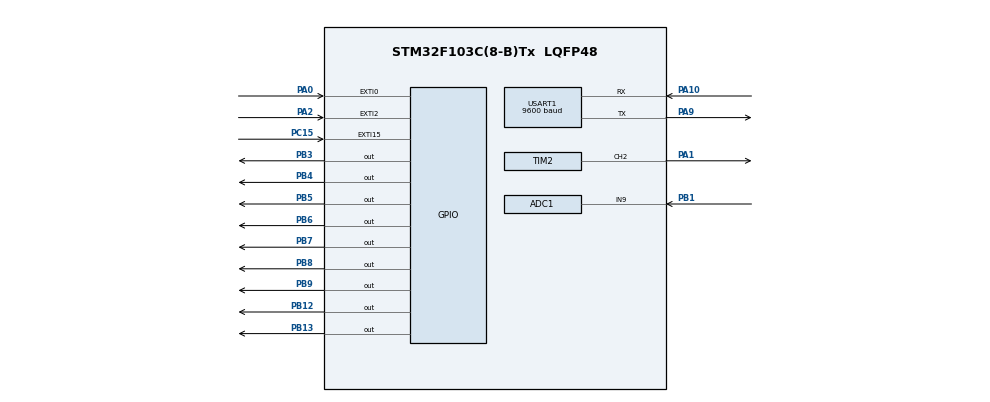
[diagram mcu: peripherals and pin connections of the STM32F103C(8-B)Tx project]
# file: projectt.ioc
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ADC1.Channel-0\#ChannelRegularConversion=ADC_CHANNEL_9
ADC1.ContinuousConvMode=ENABLE
ADC1.NbrOfConversionFlag=1
ADC1.Rank-0\#ChannelRegularConversion=1
ADC1.SamplingTime-0\#ChannelRegularConversion=ADC_SAMPLETIME_1CYCLE_5
ADC1.master=1
Mcu.Family=STM32F1
Mcu.Name=STM32F103C(8-B)Tx
Mcu.Package=LQFP48
NVIC.EXTI0_IRQn=true\:0\:0\:false\:false\:true\:true\:true\:true
NVIC.EXTI15_10_IRQn=true\:0\:0\:false\:false\:true\:true\:true\:true
NVIC.EXTI2_IRQn=true\:0\:0\:false\:false\:true\:true\:true\:true
NVIC.PriorityGroup=NVIC_PRIORITYGROUP_4
NVIC.USART1_IRQn=true\:0\:0\:false\:false\:true\:true\:true\:true
PA0-WKUP.Signal=GPXTI0
PA1.Signal=S_TIM2_CH2
PA10.Mode=Asynchronous
PA10.Signal=USART1_RX
PA13.Mode=Serial_Wire
PA13.Signal=SYS_JTMS-SWDIO
PA14.Mode=Serial_Wire
PA14.Signal=SYS_JTCK-SWCLK
PA2.Signal=GPXTI2
PA9.Mode=Asynchronous
PA9.Signal=USART1_TX
PB1.Signal=ADCx_IN9
PB12.GPIO_PuPd=GPIO_PULLDOWN
PB12.Signal=GPIO_Output
PB13.GPIO_PuPd=GPIO_PULLDOWN
PB13.Signal=GPIO_Output
PB3.Signal=GPIO_Output
PB4.Signal=GPIO_Output
PB5.Signal=GPIO_Output
PB6.Signal=GPIO_Output
PB7.Signal=GPIO_Output
PB8.Signal=GPIO_Output
PB9.Signal=GPIO_Output
PC15-OSC32_OUT.GPIO_PuPd=GPIO_PULLDOWN
PC15-OSC32_OUT.Signal=GPXTI15
ProjectManager.HeapSize=0x200
ProjectManager.StackSize=0x400
ProjectManager.TargetToolchain=MDK-ARM V5.32
RCC.APB1Freq_Value=8000000
RCC.APB2Freq_Value=8000000
SH.ADCx_IN9.0=ADC1_IN9,IN9
SH.S_TIM2_CH2.0=TIM2_CH2,PWM Generation2 CH2
TIM2.Channel-PWM\ Generation2\ CH2=TIM_CHANNEL_2
TIM2.Period=9999
TIM2.Prescaler=15
USART1.BaudRate=9600
USART1.VirtualMode=VM_ASYNC
VP_TIM2_VS_ClockSourceINT.Mode=Internal
board=custom

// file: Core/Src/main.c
/* USER CODE BEGIN Header */
/**
  ******************************************************************************
  * @file           : main.c
  * @brief          : Main program body
  ******************************************************************************
  * @attention
  *
  * Copyright (c) 2023 STMicroelectronics.
  * All rights reserved.
  *
  * This software is licensed under terms that can be found in the LICENSE file
  * in the root directory of this software component.
  * If no LICENSE file comes with this software, it is provided AS-IS.
  *
  ******************************************************************************
  */
/* USER CODE END Header */
#include "main.h"

/* USER CODE BEGIN PD */
int left;
	int right;
	int count;
	int degree;
	int slow;
	uint16_t readValue;
  uint16_t PWM;
	uint8_t tData[]= "Degree=000,\n Count=00\r\n";
/* USER CODE END PD */

ADC_HandleTypeDef hadc1;

TIM_HandleTypeDef htim2;

UART_HandleTypeDef huart1;

void SystemClock_Config(void);
static void MX_GPIO_Init(void);
static void MX_ADC1_Init(void);
static void MX_TIM2_Init(void);
static void MX_USART1_UART_Init(void);

/* USER CODE BEGIN 0 */
void ShowNumber(int num){

	switch(num){

		case 0:
			HAL_GPIO_WritePin(GPIOB, GPIO_PIN_3, GPIO_PIN_RESET);
			HAL_GPIO_WritePin(GPIOB, GPIO_PIN_4, GPIO_PIN_RESET);
			HAL_GPIO_WritePin(GPIOB, GPIO_PIN_5, GPIO_PIN_RESET);
			HAL_GPIO_WritePin(GPIOB, GPIO_PIN_6, GPIO_PIN_RESET);
			HAL_GPIO_WritePin(GPIOB, GPIO_PIN_7, GPIO_PIN_RESET);
			HAL_GPIO_WritePin(GPIOB, GPIO_PIN_8, GPIO_PIN_RESET);
			HAL_GPIO_WritePin(GPIOB, GPIO_PIN_9, GPIO_PIN_SET);
			break;
		case 1:
			HAL_GPIO_WritePin(GPIOB, GPIO_PIN_3, GPIO_PIN_SET);
			HAL_GPIO_WritePin(GPIOB, GPIO_PIN_4, GPIO_PIN_RESET);
			HAL_GPIO_WritePin(GPIOB, GPIO_PIN_5, GPIO_PIN_RESET);
			HAL_GPIO_WritePin(GPIOB, GPIO_PIN_6, GPIO_PIN_SET);
			HAL_GPIO_WritePin(GPIOB, GPIO_PIN_7, GPIO_PIN_SET);
			HAL_GPIO_WritePin(GPIOB, GPIO_PIN_8, GPIO_PIN_SET);
			HAL_GPIO_WritePin(GPIOB, GPIO_PIN_9, GPIO_PIN_SET);
			break;
		case 2:
			HAL_GPIO_WritePin(GPIOB, GPIO_PIN_3, GPIO_PIN_RESET);
			HAL_GPIO_WritePin(GPIOB, GPIO_PIN_4, GPIO_PIN_RESET);
			HAL_GPIO_WritePin(GPIOB, GPIO_PIN_5, GPIO_PIN_SET);
			HAL_GPIO_WritePin(GPIOB, GPIO_PIN_6, GPIO_PIN_RESET);
			HAL_GPIO_WritePin(GPIOB, GPIO_PIN_7, GPIO_PIN_RESET);
			HAL_GPIO_WritePin(GPIOB, GPIO_PIN_8, GPIO_PIN_SET);
			HAL_GPIO_WritePin(GPIOB, GPIO_PIN_9, GPIO_PIN_RESET);
			break;
		case 3:
			HAL_GPIO_WritePin(GPIOB, GPIO_PIN_3, GPIO_PIN_RESET);
			HAL_GPIO_WritePin(GPIOB, GPIO_PIN_4, GPIO_PIN_RESET);
			HAL_GPIO_WritePin(GPIOB, GPIO_PIN_5, GPIO_PIN_RESET);
			HAL_GPIO_WritePin(GPIOB, GPIO_PIN_6, GPIO_PIN_RESET);
			HAL_GPIO_WritePin(GPIOB, GPIO_PIN_7, GPIO_PIN_SET);
			HAL_GPIO_WritePin(GPIOB, GPIO_PIN_8, GPIO_PIN_SET);
			HAL_GPIO_WritePin(GPIOB, GPIO_PIN_9, GPIO_PIN_RESET);
			break;
		case 4:
			HAL_GPIO_WritePin(GPIOB, GPIO_PIN_3, GPIO_PIN_SET);
			HAL_GPIO_WritePin(GPIOB, GPIO_PIN_4, GPIO_PIN_RESET);
			HAL_GPIO_WritePin(GPIOB, GPIO_PIN_5, GPIO_PIN_RESET);
			HAL_GPIO_WritePin(GPIOB, GPIO_PIN_6, GPIO_PIN_SET);
			HAL_GPIO_WritePin(GPIOB, GPIO_PIN_7, GPIO_PIN_SET);
			HAL_GPIO_WritePin(GPIOB, GPIO_PIN_8, GPIO_PIN_RESET);
			HAL_GPIO_WritePin(GPIOB, GPIO_PIN_9, GPIO_PIN_RESET);
			break;
		case 5:
			HAL_GPIO_WritePin(GPIOB, GPIO_PIN_3, GPIO_PIN_RESET);
			HAL_GPIO_WritePin(GPIOB, GPIO_PIN_4, GPIO_PIN_SET);
			HAL_GPIO_WritePin(GPIOB, GPIO_PIN_5, GPIO_PIN_RESET);
			HAL_GPIO_WritePin(GPIOB, GPIO_PIN_6, GPIO_PIN_RESET);
			HAL_GPIO_WritePin(GPIOB, GPIO_PIN_7, GPIO_PIN_SET);
			HAL_GPIO_WritePin(GPIOB, GPIO_PIN_8, GPIO_PIN_RESET);
			HAL_GPIO_WritePin(GPIOB, GPIO_PIN_9, GPIO_PIN_RESET);
			break;
		case 6:
			HAL_GPIO_WritePin(GPIOB, GPIO_PIN_3, GPIO_PIN_RESET);
			HAL_GPIO_WritePin(GPIOB, GPIO_PIN_4, GPIO_PIN_SET);
			HAL_GPIO_WritePin(GPIOB, GPIO_PIN_5, GPIO_PIN_RESET);
			HAL_GPIO_WritePin(GPIOB, GPIO_PIN_6, GPIO_PIN_RESET);
			HAL_GPIO_WritePin(GPIOB, GPIO_PIN_7, GPIO_PIN_RESET);
			HAL_GPIO_WritePin(GPIOB, GPIO_PIN_8, GPIO_PIN_RESET);
			HAL_GPIO_WritePin(GPIOB, GPIO_PIN_9, GPIO_PIN_RESET);
			break;
		case 7:
			HAL_GPIO_WritePin(GPIOB, GPIO_PIN_3, GPIO_PIN_RESET);
			HAL_GPIO_WritePin(GPIOB, GPIO_PIN_4, GPIO_PIN_RESET);
			HAL_GPIO_WritePin(GPIOB, GPIO_PIN_5, GPIO_PIN_RESET);
			HAL_GPIO_WritePin(GPIOB, GPIO_PIN_6, GPIO_PIN_SET);
			HAL_GPIO_WritePin(GPIOB, GPIO_PIN_7, GPIO_PIN_SET);
			HAL_GPIO_WritePin(GPIOB, GPIO_PIN_8, GPIO_PIN_SET);
			HAL_GPIO_WritePin(GPIOB, GPIO_PIN_9, GPIO_PIN_SET);
			break;
		case 8:
			HAL_GPIO_WritePin(GPIOB, GPIO_PIN_3, GPIO_PIN_RESET);
			HAL_GPIO_WritePin(GPIOB, GPIO_PIN_4, GPIO_PIN_RESET);
			HAL_GPIO_WritePin(GPIOB, GPIO_PIN_5, GPIO_PIN_RESET);
			HAL_GPIO_WritePin(GPIOB, GPIO_PIN_6, GPIO_PIN_RESET);
			HAL_GPIO_WritePin(GPIOB, GPIO_PIN_7, GPIO_PIN_RESET);
			HAL_GPIO_WritePin(GPIOB, GPIO_PIN_8, GPIO_PIN_RESET);
			HAL_GPIO_WritePin(GPIOB, GPIO_PIN_9, GPIO_PIN_RESET);
			break;
		case 9:
			HAL_GPIO_WritePin(GPIOB, GPIO_PIN_3, GPIO_PIN_RESET);
			HAL_GPIO_WritePin(GPIOB, GPIO_PIN_4, GPIO_PIN_RESET);
			HAL_GPIO_WritePin(GPIOB, GPIO_PIN_5, GPIO_PIN_RESET);
			HAL_GPIO_WritePin(GPIOB, GPIO_PIN_6, GPIO_PIN_RESET);
			HAL_GPIO_WritePin(GPIOB, GPIO_PIN_7, GPIO_PIN_SET);
			HAL_GPIO_WritePin(GPIOB, GPIO_PIN_8, GPIO_PIN_RESET);
			HAL_GPIO_WritePin(GPIOB, GPIO_PIN_9, GPIO_PIN_RESET);
			break;
	}
}
/* USER CODE END 0 */

int main(void)
{

  /* MCU Configuration--------------------------------------------------------*/

  /* Reset of all peripherals, Initializes the Flash interface and the Systick. */
  HAL_Init();

  /* Configure the system clock */
  SystemClock_Config();

  /* Initialize all configured peripherals */
  MX_GPIO_Init();
  MX_ADC1_Init();
  MX_TIM2_Init();
  MX_USART1_UART_Init();
  /* USER CODE BEGIN 2 */
	HAL_ADC_Start(&hadc1);
  HAL_TIM_PWM_Start(&htim2, TIM_CHANNEL_2);
__HAL_UART_ENABLE_IT(&huart1,UART_IT_RXNE);
  /* USER CODE END 2 */

  /* Infinite loop */
  /* USER CODE BEGIN WHILE */
  while (1)
  {
		HAL_ADC_PollForConversion(&hadc1,1000);
    readValue = HAL_ADC_GetValue(&hadc1);
    PWM = 250 + readValue/4.1;
    __HAL_TIM_SET_COMPARE(&htim2,TIM_CHANNEL_2, PWM);
    HAL_Delay(10);

		degree = (((readValue - 0) * (180 - 0)) / (4090 - 0) + 0);

			right = count%10;
			left = count/10;

			HAL_GPIO_WritePin(GPIOB, GPIO_PIN_12, GPIO_PIN_SET);
			HAL_GPIO_WritePin(GPIOB, GPIO_PIN_13, GPIO_PIN_RESET);
			ShowNumber(left);
		  HAL_Delay(10);

			HAL_GPIO_WritePin(GPIOB, GPIO_PIN_12, GPIO_PIN_RESET);
			HAL_GPIO_WritePin(GPIOB, GPIO_PIN_13, GPIO_PIN_SET);
			ShowNumber(right);
		  HAL_Delay(10);

		tData[9] = (degree%10)+'0';
		tData[8] = ((degree/10)%10)+'0';
		tData[7] = (degree/100)+'0';

		tData[19] = left+'0';
		tData[20] = right+'0';

		HAL_UART_Transmit_IT(&huart1,(uint8_t*) &tData,24);

//		slow++;
//		if(slow%10==0){
//			count++;
//		}
//		if(slow==10000){
//			slow = 0;
//		}

		if (count>=100){
			count=0;
		}
    /* USER CODE END WHILE */

  }
}

void SystemClock_Config(void)
{
  RCC_OscInitTypeDef RCC_OscInitStruct = {0};
  RCC_ClkInitTypeDef RCC_ClkInitStruct = {0};
  RCC_PeriphCLKInitTypeDef PeriphClkInit = {0};

  /** Initializes the RCC Oscillators according to the specified parameters
  * in the RCC_OscInitTypeDef structure.
  */
  RCC_OscInitStruct.OscillatorType = RCC_OSCILLATORTYPE_HSI;
  RCC_OscInitStruct.HSIState = RCC_HSI_ON;
  RCC_OscInitStruct.HSICalibrationValue = RCC_HSICALIBRATION_DEFAULT;
  RCC_OscInitStruct.PLL.PLLState = RCC_PLL_NONE;
  if (HAL_RCC_OscConfig(&RCC_OscInitStruct) != HAL_OK)
  {
    Error_Handler();
  }

  /** Initializes the CPU, AHB and APB buses clocks
  */
  RCC_ClkInitStruct.ClockType = RCC_CLOCKTYPE_HCLK|RCC_CLOCKTYPE_SYSCLK
                              |RCC_CLOCKTYPE_PCLK1|RCC_CLOCKTYPE_PCLK2;
  RCC_ClkInitStruct.SYSCLKSource = RCC_SYSCLKSOURCE_HSI;
  RCC_ClkInitStruct.AHBCLKDivider = RCC_SYSCLK_DIV1;
  RCC_ClkInitStruct.APB1CLKDivider = RCC_HCLK_DIV1;
  RCC_ClkInitStruct.APB2CLKDivider = RCC_HCLK_DIV1;

  if (HAL_RCC_ClockConfig(&RCC_ClkInitStruct, FLASH_LATENCY_0) != HAL_OK)
  {
    Error_Handler();
  }
  PeriphClkInit.PeriphClockSelection = RCC_PERIPHCLK_ADC;
  PeriphClkInit.AdcClockSelection = RCC_ADCPCLK2_DIV2;
  if (HAL_RCCEx_PeriphCLKConfig(&PeriphClkInit) != HAL_OK)
  {
    Error_Handler();
  }
}

static void MX_ADC1_Init(void)
{

  ADC_ChannelConfTypeDef sConfig = {0};

  /** Common config
  */
  hadc1.Instance = ADC1;
  hadc1.Init.ScanConvMode = ADC_SCAN_DISABLE;
  hadc1.Init.ContinuousConvMode = ENABLE;
  hadc1.Init.DiscontinuousConvMode = DISABLE;
  hadc1.Init.ExternalTrigConv = ADC_SOFTWARE_START;
  hadc1.Init.DataAlign = ADC_DATAALIGN_RIGHT;
  hadc1.Init.NbrOfConversion = 1;
  if (HAL_ADC_Init(&hadc1) != HAL_OK)
  {
    Error_Handler();
  }

  /** Configure Regular Channel
  */
  sConfig.Channel = ADC_CHANNEL_9;
  sConfig.Rank = ADC_REGULAR_RANK_1;
  sConfig.SamplingTime = ADC_SAMPLETIME_1CYCLE_5;
  if (HAL_ADC_ConfigChannel(&hadc1, &sConfig) != HAL_OK)
  {
    Error_Handler();
  }

}

static void MX_TIM2_Init(void)
{

  TIM_ClockConfigTypeDef sClockSourceConfig = {0};
  TIM_MasterConfigTypeDef sMasterConfig = {0};
  TIM_OC_InitTypeDef sConfigOC = {0};

  htim2.Instance = TIM2;
  htim2.Init.Prescaler = 15;
  htim2.Init.CounterMode = TIM_COUNTERMODE_UP;
  htim2.Init.Period = 9999;
  htim2.Init.ClockDivision = TIM_CLOCKDIVISION_DIV1;
  htim2.Init.AutoReloadPreload = TIM_AUTORELOAD_PRELOAD_DISABLE;
  if (HAL_TIM_Base_Init(&htim2) != HAL_OK)
  {
    Error_Handler();
  }
  sClockSourceConfig.ClockSource = TIM_CLOCKSOURCE_INTERNAL;
  if (HAL_TIM_ConfigClockSource(&htim2, &sClockSourceConfig) != HAL_OK)
  {
    Error_Handler();
  }
  if (HAL_TIM_PWM_Init(&htim2) != HAL_OK)
  {
    Error_Handler();
  }
  sMasterConfig.MasterOutputTrigger = TIM_TRGO_RESET;
  sMasterConfig.MasterSlaveMode = TIM_MASTERSLAVEMODE_DISABLE;
  if (HAL_TIMEx_MasterConfigSynchronization(&htim2, &sMasterConfig) != HAL_OK)
  {
    Error_Handler();
  }
  sConfigOC.OCMode = TIM_OCMODE_PWM1;
  sConfigOC.Pulse = 0;
  sConfigOC.OCPolarity = TIM_OCPOLARITY_HIGH;
  sConfigOC.OCFastMode = TIM_OCFAST_DISABLE;
  if (HAL_TIM_PWM_ConfigChannel(&htim2, &sConfigOC, TIM_CHANNEL_2) != HAL_OK)
  {
    Error_Handler();
  }
  HAL_TIM_MspPostInit(&htim2);

}

static void MX_USART1_UART_Init(void)
{

  huart1.Instance = USART1;
  huart1.Init.BaudRate = 9600;
  huart1.Init.WordLength = UART_WORDLENGTH_8B;
  huart1.Init.StopBits = UART_STOPBITS_1;
  huart1.Init.Parity = UART_PARITY_NONE;
  huart1.Init.Mode = UART_MODE_TX_RX;
  huart1.Init.HwFlowCtl = UART_HWCONTROL_NONE;
  huart1.Init.OverSampling = UART_OVERSAMPLING_16;
  if (HAL_UART_Init(&huart1) != HAL_OK)
  {
    Error_Handler();
  }

}

static void MX_GPIO_Init(void)
{
  GPIO_InitTypeDef GPIO_InitStruct = {0};

  /* GPIO Ports Clock Enable */
  __HAL_RCC_GPIOC_CLK_ENABLE();
  __HAL_RCC_GPIOA_CLK_ENABLE();
  __HAL_RCC_GPIOB_CLK_ENABLE();

  /*Configure GPIO pin Output Level */
  HAL_GPIO_WritePin(GPIOB, GPIO_PIN_12|GPIO_PIN_13|GPIO_PIN_3|GPIO_PIN_4
                          |GPIO_PIN_5|GPIO_PIN_6|GPIO_PIN_7|GPIO_PIN_8
                          |GPIO_PIN_9, GPIO_PIN_RESET);

  /*Configure GPIO pin : PC15 */
  GPIO_InitStruct.Pin = GPIO_PIN_15;
  GPIO_InitStruct.Mode = GPIO_MODE_IT_RISING;
  GPIO_InitStruct.Pull = GPIO_PULLDOWN;
  HAL_GPIO_Init(GPIOC, &GPIO_InitStruct);

  /*Configure GPIO pins : PA0 PA2 */
  GPIO_InitStruct.Pin = GPIO_PIN_0|GPIO_PIN_2;
  GPIO_InitStruct.Mode = GPIO_MODE_IT_RISING;
  GPIO_InitStruct.Pull = GPIO_NOPULL;
  HAL_GPIO_Init(GPIOA, &GPIO_InitStruct);

  /*Configure GPIO pins : PB12 PB13 */
  GPIO_InitStruct.Pin = GPIO_PIN_12|GPIO_PIN_13;
  GPIO_InitStruct.Mode = GPIO_MODE_OUTPUT_PP;
  GPIO_InitStruct.Pull = GPIO_PULLDOWN;
  GPIO_InitStruct.Speed = GPIO_SPEED_FREQ_LOW;
  HAL_GPIO_Init(GPIOB, &GPIO_InitStruct);

  /*Configure GPIO pins : PB3 PB4 PB5 PB6
                           PB7 PB8 PB9 */
  GPIO_InitStruct.Pin = GPIO_PIN_3|GPIO_PIN_4|GPIO_PIN_5|GPIO_PIN_6
                          |GPIO_PIN_7|GPIO_PIN_8|GPIO_PIN_9;
  GPIO_InitStruct.Mode = GPIO_MODE_OUTPUT_PP;
  GPIO_InitStruct.Pull = GPIO_NOPULL;
  GPIO_InitStruct.Speed = GPIO_SPEED_FREQ_LOW;
  HAL_GPIO_Init(GPIOB, &GPIO_InitStruct);

  /* EXTI interrupt init*/
  HAL_NVIC_SetPriority(EXTI0_IRQn, 0, 0);
  HAL_NVIC_EnableIRQ(EXTI0_IRQn);

  HAL_NVIC_SetPriority(EXTI2_IRQn, 0, 0);
  HAL_NVIC_EnableIRQ(EXTI2_IRQn);

  HAL_NVIC_SetPriority(EXTI15_10_IRQn, 0, 0);
  HAL_NVIC_EnableIRQ(EXTI15_10_IRQn);

}

void Error_Handler(void)
{
  __disable_irq();
  while (1)
  {
  }
}
